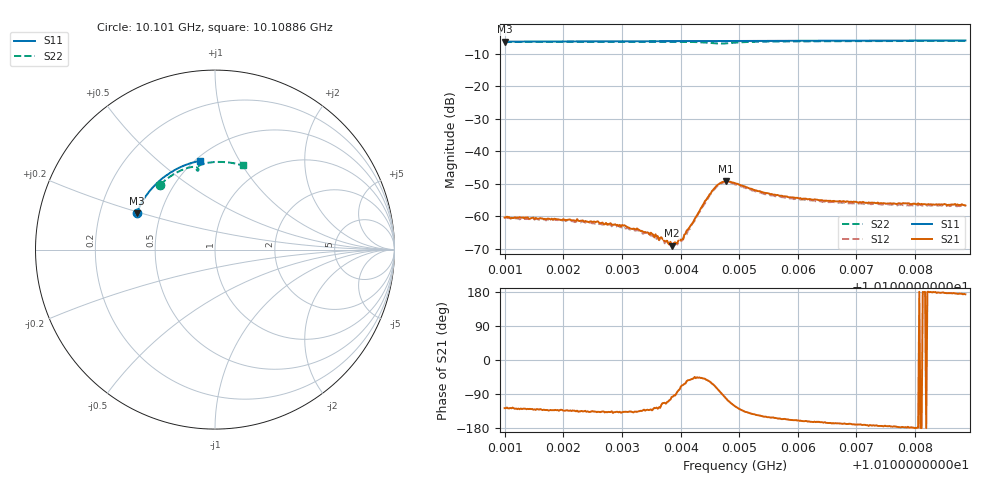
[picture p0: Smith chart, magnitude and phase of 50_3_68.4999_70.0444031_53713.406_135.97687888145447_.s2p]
#  HZ  S  RI  R  50.00
! Rohde & Schwarz Vector Network Analyzer
! Rohde-Schwarz,ZNB20-2Port,1311601062101988,3.16
! Created: UTC 3/20/2024, 5:05:58 PM
! freq[Hz]  re:S11  im:S11  re:S21  im:S21  re:S12  im:S12  re:S22  im:S22
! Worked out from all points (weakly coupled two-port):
!   401 points, 10.101 GHz to 10.10886 GHz, reference 50 ohm
!   highest |S21| = -49.22 dB at 10.10477 GHz (marker M1); lowest = -69.0 dB at 10.10385 GHz (marker M2)
!   lowest |S11| = -6.3 dB at 10.101 GHz (marker M3), VSWR 2.86, Z = 18.2 + j9.64 ohm
!   |S11| at or under -10 dB: nowhere
!   |S22| runs from -6.9 to -6.1 dB; largest |S21 - S12| = 0.00035
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1.0100995e10  -0.4368 0.203  -0.000578 -0.000765  -0.000478 -0.000796  -0.3064 0.3619
1.010186e10  -0.4145 0.2505  -0.000608 -0.000683  -0.000536 -0.000696  -0.263 0.3975
1.0102313e10  -0.4008 0.2745  -0.000601 -0.000612  -0.000535 -0.000643  -0.2387 0.4142
1.0102765e10  -0.3859 0.2976  -0.000555 -0.000519  -0.000504 -0.000546  -0.213 0.4295
1.010304e10  -0.3761 0.311  -0.000534 -0.000499  -0.000455 -0.000483  -0.1966 0.4377
1.0103197e10  -0.3703 0.3187  -0.000483 -0.000435  -0.000445 -0.000467  -0.1871 0.4423
1.0103433e10  -0.3612 0.3299  -0.000374 -0.000428  -0.00032 -0.000406  -0.1722 0.4486
1.010363e10  -0.3536 0.3389  -0.000246 -0.000356  -0.000219 -0.000397  -0.1592 0.4532
1.0103846e10  -0.3448 0.3488  -4.57e-05 -0.000351  -3.85e-05 -0.000347  -0.1441 0.4578
1.0103945e10  -0.3408 0.353  4.29e-05 -0.000386  6.28e-05 -0.000363  -0.1369 0.4594
1.0104023e10  -0.3375 0.3566  0.000173 -0.000406  0.000196 -0.000375  -0.1308 0.4603
1.0104141e10  -0.3323 0.3616  0.000394 -0.000523  0.000421 -0.000476  -0.1213 0.4612
1.0104377e10  -0.3221 0.3715  0.000977 -0.0011  0.00103 -0.000985  -0.1016 0.4576
1.0104534e10  -0.315 0.378  0.00113 -0.00216  0.00126 -0.00195  -0.0922 0.4481
1.0104652e10  -0.3098 0.3828  0.000512 -0.00309  0.000777 -0.00294  -0.0939 0.4404
1.010477e10  -0.3046 0.3873  -0.000663 -0.00339  -0.000337 -0.0033  -0.1006 0.4414
1.0104928e10  -0.2975 0.3935  -0.00172 -0.00273  -0.00141 -0.00275  -0.1016 0.453
1.0105459e10  -0.2719 0.4132  -0.00197 -0.00115  -0.00179 -0.00125  -0.0675 0.4771
1.0105871e10  -0.2512 0.4273  -0.00182 -0.000731  -0.00168 -0.000859  -0.0387 0.4838
1.0106245e10  -0.2319 0.4391  -0.00172 -0.000517  -0.00161 -0.000686  -0.0136 0.487
1.0107562e10  -0.16 0.4729  -0.00158 -0.000158  -0.00148 -0.000264  0.0725 0.4858
1.010886e10  -0.0844 0.4944  -0.00146 0.00017  -0.00145 -7.29e-06  0.1538 0.4693
